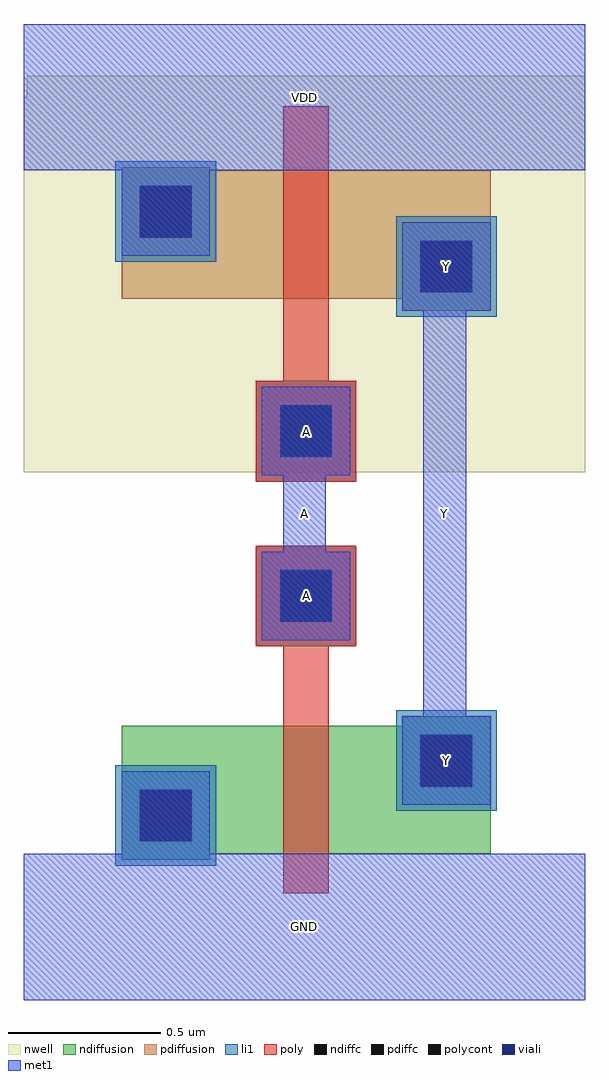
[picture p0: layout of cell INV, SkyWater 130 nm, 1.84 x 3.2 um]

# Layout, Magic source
magic
# Generated by librecell
tech sky130A
<< nwell >>
rect 0 149 184 272
rect 1 272 184 279
<< viali >>
rect 38 28 55 45
rect 130 46 147 63
rect 84 100 101 117
rect 84 154 101 171
rect 130 208 147 225
rect 38 226 55 243
<< poly >>
rect 85 11 100 92
rect 76 92 109 125
rect 76 146 109 179
rect 85 179 100 269
<< properties >>
string FIXED_BBOX 0 0 184 272
<< li1 >>
rect 30 20 63 53
rect 122 38 155 71
rect 76 92 109 125
rect 76 146 109 179
rect 122 200 155 233
rect 30 218 63 251
<< met1 >>
rect 0 -24 184 24
rect 32 24 61 51
rect 78 94 107 123
rect 85 123 99 148
rect 78 148 107 177
rect 124 40 153 69
rect 131 69 145 202
rect 124 202 153 231
rect 32 220 61 248
rect 0 248 184 296
<< li1 >>
<< met1 >>
<< li1 >>
<< met1 >>
rect 0 -24 184 24
rect 78 94 107 123
rect 85 123 99 148
rect 78 148 107 177
rect 124 40 153 69
rect 131 69 145 202
rect 124 202 153 231
rect 0 248 184 296
<< ndiffusion >>
rect 32 22 61 24
rect 32 24 153 66
rect 124 66 153 69
<< pdiffusion >>
rect 124 202 153 206
rect 32 206 153 248
rect 32 248 61 249
<< polycont >>
rect 84 100 101 117
rect 84 154 101 171
<< pdiffc >>
rect 130 208 147 225
rect 38 226 55 243
<< ndiffc >>
rect 38 28 55 45
rect 130 46 147 63
<< labels >>
rlabel metal2 0 248 184 296 0 VDD
port 1 se
rlabel metal2 0 -24 184 24 0 GND
port 2 se
rlabel metal2 124 40 153 69 0 Y
port 3 se
rlabel metal2 131 69 145 202 0 Y
port 4 se
rlabel metal2 124 202 153 231 0 Y
port 5 se
rlabel metal2 78 94 107 123 0 A
port 6 se
rlabel metal2 85 123 99 148 0 A
port 7 se
rlabel metal2 78 148 107 177 0 A
port 8 se
<< end >>
